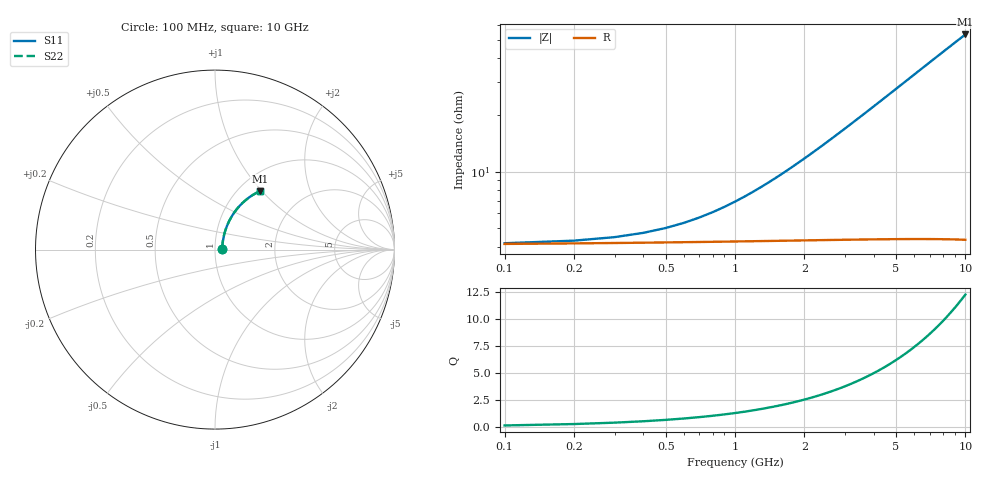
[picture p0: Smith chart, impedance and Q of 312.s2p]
# Hz S RI R 50.00
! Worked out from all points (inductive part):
!   100 points, 100 MHz to 10 GHz, reference 50 ohm
!   read as one part in series: L = 869 pH near 2.4 GHz
!   highest Q = 12.3 at 10 GHz (marker M1), where L = 851 pH
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1e8  0.0397 0.00436  0.9603 -0.00574  0.9603 -0.00574  0.0397 0.00436
2e8  0.0401 0.00871  0.9599 -0.0115  0.9599 -0.0115  0.0401 0.00871
3e8  0.0404 0.0131  0.9596 -0.0172  0.9596 -0.0172  0.0404 0.0131
4e8  0.0407 0.0174  0.9593 -0.0229  0.9593 -0.0229  0.0407 0.0174
5e8  0.0411 0.0217  0.9589 -0.0286  0.9589 -0.0286  0.0411 0.0217
1.3e9  0.0455 0.0562  0.9544 -0.0741  0.9544 -0.0741  0.0455 0.0562
1.5e9  0.047 0.0647  0.9527 -0.0854  0.9527 -0.0854  0.047 0.0647
1.8e9  0.0497 0.0773  0.95 -0.1022  0.95 -0.1022  0.0497 0.0773
2.1e9  0.0528 0.0899  0.9467 -0.1189  0.9467 -0.1189  0.0528 0.0899
2.5e9  0.0576 0.1064  0.9417 -0.1409  0.9417 -0.1409  0.0576 0.1064
2.9e9  0.0632 0.1225  0.9359 -0.1626  0.9359 -0.1626  0.0632 0.1225
3.4e9  0.0711 0.1422  0.9277 -0.1893  0.9277 -0.1893  0.0711 0.1422
3.8e9  0.0783 0.1576  0.9203 -0.2101  0.9203 -0.2101  0.0783 0.1576
4.2e9  0.086 0.1724  0.9122 -0.2306  0.9122 -0.2306  0.086 0.1724
4.6e9  0.0944 0.1869  0.9035 -0.2505  0.9035 -0.2505  0.0944 0.1869
5.1e9  0.1057 0.2042  0.8917 -0.2748  0.8917 -0.2748  0.1057 0.2042
5.9e9  0.1255 0.2301  0.871 -0.3119  0.871 -0.3119  0.1255 0.2301
6.7e9  0.1472 0.2538  0.8483 -0.3468  0.8483 -0.3468  0.1472 0.2538
7.5e9  0.1704 0.2751  0.824 -0.3792  0.824 -0.3792  0.1704 0.2751
8.4e9  0.198 0.296  0.795 -0.4129  0.795 -0.4129  0.198 0.296
9.2e9  0.2234 0.312  0.7681 -0.4402  0.7681 -0.4402  0.2234 0.312
1e10  0.2495 0.3256  0.7405 -0.4651  0.7405 -0.4651  0.2495 0.3256
